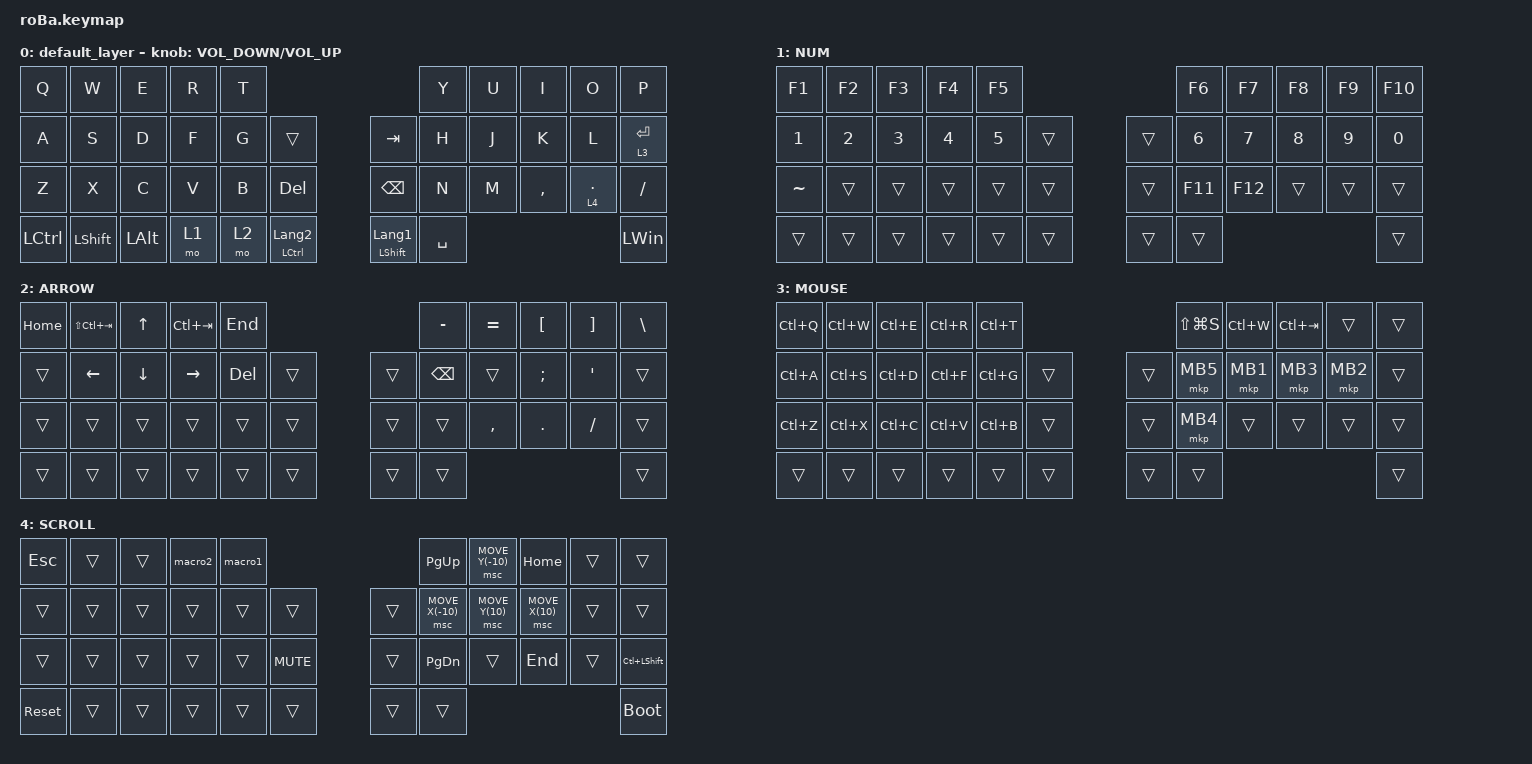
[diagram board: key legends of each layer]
#include <behaviors.dtsi>
#include <dt-bindings/zmk/keys.h>
#include <dt-bindings/zmk/pointing.h>

&mt {
    flavor = "balanced";
    quick-tap-ms = <0>;
};

&trackball {
    // automouse-layer = <4>;

    scroll-layers = <4>;

    // arrows {
    //     layers = <3>;
    //     bindings =
    //         <&kp RIGHT_ARROW>,
    //         <&kp LEFT_ARROW>,
    //         <&kp UP_ARROW>,
    //         <&kp DOWN_ARROW>;
    //     tick = <10>;
    //     wait-ms = <5>;
    //     tap-ms = <5>;
    // };
};

/ {
    combos {
        compatible = "zmk,combos";

        tab {
            bindings = <&kp TAB>;
            key-positions = <1 2>;
        };

        shift_tab {
            bindings = <&kp LS(TAB)>;
            key-positions = <2 3>;
        };

        muhennkann {
            bindings = <&kp INTERNATIONAL_5>;
            key-positions = <11 10>;
        };

        henkan {
            bindings = <&kp INTERNATIONAL_4>;
            key-positions = <21 20>;
        };
    };

    macros {
        macro1: macro1 {
            compatible = "zmk,behavior-macro";
            #binding-cells = <0>;
            bindings = <&kp LS(W) &kp E &kp L &kp C &kp O &kp M &kp E &kp NUMBER_8 &kp NUMBER_1 &kp NUMBER_0 &kp NUMBER_6 &kp NUMBER_5 &kp NUMBER_3>;
            label = "MACRO1";
        };

        macro2: macro2 {
            compatible = "zmk,behavior-macro";
            #binding-cells = <0>;
            bindings = <&kp LS(S) &kp NUMBER_0 &kp NUMBER_4 &kp NUMBER_9 &kp NUMBER_7 &kp NUMBER_7 &kp NUMBER_2>;
            label = "MACRO2";
        };

        to_layer_0: to_layer_0 {
            compatible = "zmk,behavior-macro";
            #binding-cells = <0>;
            bindings = <&to 0>;
            label = "TO_LAYER_0";
        };
    };

    behaviors {
        lt_to_layer_0: lt_to_layer_0 {
            compatible = "zmk,behavior-hold-tap";
            label = "LAYER_TAP_TO_0";
            bindings = <&mo>, <&to_layer_0>;

            #binding-cells = <2>;
            tapping-term-ms = <200>;
        };
    };

    keymap {
        compatible = "zmk,keymap";

        default_layer {
            bindings = <
&kp Q      &kp W           &kp E         &kp R  &kp T                                                       &kp Y      &kp U  &kp I      &kp O         &kp P
&kp A      &kp S           &kp D         &kp F  &kp G  &trans                    &kp TAB                    &kp H      &kp J  &kp K      &kp L         &lt 3 ENTER
&kp Z      &kp X           &kp C         &kp V  &kp B  &kp DELETE                &kp BACKSPACE              &kp N      &kp M  &kp COMMA  &lt 4 PERIOD  &kp SLASH
&kp LCTRL  &kp LEFT_SHIFT  &kp LEFT_ALT  &mo 1  &mo 2  &mt LCTRL LANGUAGE_2      &mt LEFT_SHIFT LANGUAGE_1  &kp SPACE                                  &kp LEFT_WIN
            >;

            sensor-bindings = <&inc_dec_kp C_VOLUME_DOWN C_VOLUME_UP>;
        };

        NUM {
            bindings = <
&kp F1        &kp F2        &kp F3        &kp F4        &kp F5                            &kp F6        &kp F7        &kp F8        &kp F9        &kp F10
&kp NUMBER_1  &kp NUMBER_2  &kp NUMBER_3  &kp NUMBER_4  &kp NUMBER_5  &trans      &trans  &kp NUMBER_6  &kp NUMBER_7  &kp NUMBER_8  &kp NUMBER_9  &kp NUMBER_0
&kp TILDE     &trans        &trans        &trans        &trans        &trans      &trans  &kp F11       &kp F12       &trans        &trans        &trans
&trans        &trans        &trans        &trans        &trans        &trans      &trans  &trans                                                  &trans
            >;
        };

        ARROW {
            bindings = <
&kp HOME  &kp LS(LC(TAB))  &kp UP_ARROW    &kp LC(TAB)      &kp END                         &kp MINUS      &kp EQUAL  &kp LEFT_BRACKET  &kp RIGHT_BRACKET  &kp BACKSLASH
&trans    &kp LEFT_ARROW   &kp DOWN_ARROW  &kp RIGHT_ARROW  &kp DELETE  &trans      &trans  &kp BACKSPACE  &trans     &kp SEMICOLON     &kp SINGLE_QUOTE   &trans
&trans    &trans           &trans          &trans           &trans      &trans      &trans  &trans         &kp COMMA  &kp PERIOD        &kp SLASH          &trans
&trans    &trans           &trans          &trans           &trans      &trans      &trans  &trans                                                         &trans
            >;
        };

        MOUSE {
            bindings = <
&kp LC(Q)  &kp LC(W)  &kp LC(E)  &kp LC(R)  &kp LC(T)                      &kp LS(LG(S))  &kp LC(W)  &kp LC(TAB)  &trans    &trans
&kp LC(A)  &kp LC(S)  &kp LC(D)  &kp LC(F)  &kp LC(G)  &trans      &trans  &mkp MB5       &mkp MB1   &mkp MB3     &mkp MB2  &trans
&kp LC(Z)  &kp LC(X)  &kp LC(C)  &kp LC(V)  &kp LC(B)  &trans      &trans  &mkp MB4       &trans     &trans       &trans    &trans
&trans     &trans     &trans     &trans     &trans     &trans      &trans  &trans                                           &trans
            >;
        };

        SCROLL {
            bindings = <
&kp ESC     &trans  &trans  &macro2  &macro1                          &kp PAGE_UP       &msc MOVE_Y(-10)  &kp HOME         &trans  &trans
&trans      &trans  &trans  &trans   &trans   &trans          &trans  &msc MOVE_X(-10)  &msc MOVE_Y(10)   &msc MOVE_X(10)  &trans  &trans
&trans      &trans  &trans  &trans   &trans   &kp K_MUTE      &trans  &kp PAGE_DOWN     &trans            &kp END          &trans  &kp LC(LEFT_SHIFT)
&sys_reset  &trans  &trans  &trans   &trans   &trans          &trans  &trans                                                       &bootloader
            >;
        };
    };
};
